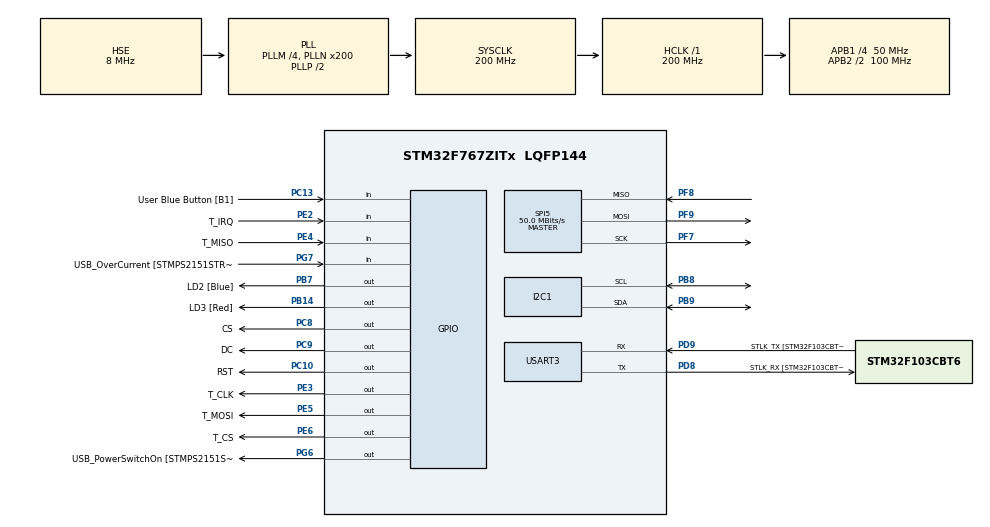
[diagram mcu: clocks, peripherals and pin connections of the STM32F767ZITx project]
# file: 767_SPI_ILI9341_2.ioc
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CORTEX_M7.ART_ACCLERATOR_ENABLE=1
CORTEX_M7.CPU_DCache=Enabled
CORTEX_M7.CPU_ICache=Enabled
CORTEX_M7.PREFETCH_ENABLE=1
I2C1.Timing=0x00C0EAFF
Mcu.Family=STM32F7
Mcu.Name=STM32F767ZITx
Mcu.Package=LQFP144
NVIC.PriorityGroup=NVIC_PRIORITYGROUP_2
NVIC.TIM1_UP_TIM10_IRQn=true\:1\:0\:true\:false\:true\:true\:true\:true
NVIC.TIM2_IRQn=true\:2\:0\:true\:false\:true\:true\:true\:true
PA1.GPIO_Label=RMII_REF_CLK [LAN8742A-CZ-TR_REFCLK0]
PA1.Signal=ETH_REF_CLK
PA13.GPIO_Label=TMS
PA13.Mode=Serial_Wire
PA13.Signal=SYS_JTMS-SWDIO
PA14.GPIO_Label=TCK
PA14.Mode=Serial_Wire
PA14.Signal=SYS_JTCK-SWCLK
PA2.GPIO_Label=RMII_MDIO [LAN8742A-CZ-TR_MDIO]
PA2.Signal=ETH_MDIO
PA7.GPIO_Label=RMII_CRS_DV [LAN8742A-CZ-TR_CRS_DV]
PA7.Signal=ETH_CRS_DV
PB13.GPIO_Label=RMII_TXD1 [LAN8742A-CZ-TR_TXD1]
PB13.Signal=ETH_TXD1
PB14.GPIO_Label=LD3 [Red]
PB14.Signal=GPIO_Output
PB3.GPIO_Label=SWO
PB3.Signal=SYS_JTDO-SWO
PB7.GPIO_Label=LD2 [Blue]
PB7.Signal=GPIO_Output
PB8.Mode=I2C
PB8.Signal=I2C1_SCL
PB9.Mode=I2C
PB9.Signal=I2C1_SDA
PC1.GPIO_Label=RMII_MDC [LAN8742A-CZ-TR_MDC]
PC1.Signal=ETH_MDC
PC10.GPIO_Label=RST
PC10.GPIO_Speed=GPIO_SPEED_FREQ_VERY_HIGH
PC10.Signal=GPIO_Output
PC13.GPIO_Label=User Blue Button [B1]
PC13.Signal=GPIO_Input
PC14/OSC32_IN.Mode=LSE-External-Oscillator
PC14/OSC32_IN.Signal=RCC_OSC32_IN
PC15/OSC32_OUT.Mode=LSE-External-Oscillator
PC15/OSC32_OUT.Signal=RCC_OSC32_OUT
PC4.GPIO_Label=RMII_RXD0 [LAN8742A-CZ-TR_RXD0]
PC4.Signal=ETH_RXD0
PC5.GPIO_Label=RMII_RXD1 [LAN8742A-CZ-TR_RXD1]
PC5.Signal=ETH_RXD1
PC8.GPIO_Label=CS
PC8.GPIO_Speed=GPIO_SPEED_FREQ_VERY_HIGH
PC8.Signal=GPIO_Output
PC9.GPIO_Label=DC
PC9.GPIO_Speed=GPIO_SPEED_FREQ_VERY_HIGH
PC9.Signal=GPIO_Output
PD8.GPIO_Label=STLK_RX [STM32F103CBT6_PA3]
PD8.Mode=Asynchronous
PD8.Signal=USART3_TX
PD9.GPIO_Label=STLK_TX [STM32F103CBT6_PA2]
PD9.Mode=Asynchronous
PD9.Signal=USART3_RX
PE2.GPIO_Label=T_IRQ
PE2.Signal=GPIO_Input
PE3.GPIO_Label=T_CLK
PE3.GPIO_Speed=GPIO_SPEED_FREQ_VERY_HIGH
PE3.Signal=GPIO_Output
PE4.GPIO_Label=T_MISO
PE4.Signal=GPIO_Input
PE5.GPIO_Label=T_MOSI
PE5.GPIO_Speed=GPIO_SPEED_FREQ_VERY_HIGH
PE5.Signal=GPIO_Output
PE6.GPIO_Label=T_CS
PE6.GPIO_Speed=GPIO_SPEED_FREQ_VERY_HIGH
PE6.Signal=GPIO_Output
PF7.Mode=Full_Duplex_Master
PF7.Signal=SPI5_SCK
PF8.Mode=Full_Duplex_Master
PF8.Signal=SPI5_MISO
PF9.Mode=Full_Duplex_Master
PF9.Signal=SPI5_MOSI
PG11.GPIO_Label=RMII_TX_EN [LAN8742A-CZ-TR_TXEN]
PG11.Signal=ETH_TX_EN
PG13.GPIO_Label=RMII_TXD0 [LAN8742A-CZ-TR_TXD0]
PG13.Signal=ETH_TXD0
PG6.GPIO_Label=USB_PowerSwitchOn [STMPS2151STR_EN]
PG6.Signal=GPIO_Output
PG7.GPIO_Label=USB_OverCurrent [STMPS2151STR_FAULT]
PG7.Signal=GPIO_Input
PH0/OSC_IN.GPIO_Label=MCO [STM32F103CBT6_PA8]
PH0/OSC_IN.Mode=HSE-External-Clock-Source
PH0/OSC_IN.Signal=RCC_OSC_IN
PH1/OSC_OUT.Mode=HSE-External-Clock-Source
PH1/OSC_OUT.Signal=RCC_OSC_OUT
ProjectManager.HeapSize=0x200
ProjectManager.StackSize=0x400
ProjectManager.TargetToolchain=STM32CubeIDE
RCC.48MHZClocksFreq_Value=24000000
RCC.AHBFreq_Value=200000000
RCC.APB1CLKDivider=RCC_HCLK_DIV4
RCC.APB1Freq_Value=50000000
RCC.APB1TimFreq_Value=100000000
RCC.APB2CLKDivider=RCC_HCLK_DIV2
RCC.APB2Freq_Value=100000000
RCC.APB2TimFreq_Value=200000000
RCC.CortexFreq_Value=200000000
RCC.HCLKFreq_Value=200000000
RCC.HSE_VALUE=8000000
RCC.HSI_VALUE=16000000
RCC.PLLM=4
RCC.PLLMUL=RCC_PLL_MUL9
RCC.PLLN=200
RCC.PLLQ=9
RCC.PLLSourceVirtual=RCC_PLLSOURCE_HSE
RCC.PRESCALERUSB=RCC_USBCLKSOURCE_PLL_DIV1_5
RCC.SYSCLKFreq_VALUE=200000000
RCC.SYSCLKSource=RCC_SYSCLKSOURCE_PLLCLK
RCC.SYSCLKSourceVirtual=RCC_SYSCLKSOURCE_PLLCLK
RCC.USBFreq_Value=44444444.44444445
RCC.VCOOutputFreq_Value=400000000
SPI5.CalculateBaudRate=50.0 MBits/s
SPI5.DataSize=SPI_DATASIZE_8BIT
SPI5.Direction=SPI_DIRECTION_2LINES
SPI5.Mode=SPI_MODE_MASTER
SPI5.NSSPMode=SPI_NSS_PULSE_DISABLE
SPI5.VirtualType=VM_MASTER
TIM1.ClockDivision=TIM_CLOCKDIVISION_DIV1
TIM1.Period=1000-1
TIM1.Prescaler=216-1
TIM3.Period=1000-1
TIM3.Prescaler=108-1
USART3.VirtualMode-Asynchronous=VM_ASYNC
VP_RNG_VS_RNG.Mode=RNG_Activate
VP_TIM1_VS_ClockSourceINT.Mode=Internal
VP_TIM2_VS_ClockSourceINT.Mode=Internal
VP_TIM3_VS_ClockSourceINT.Mode=Internal
board=NUCLEO-F767ZI

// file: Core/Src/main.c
/* USER CODE BEGIN Header */
/**
  ******************************************************************************
  * @file           : main.c
  * @brief          : Main program body
  ******************************************************************************
  * @attention
  *
  * <h2><center>&copy; Copyright (c) 2021 STMicroelectronics.
  * All rights reserved.</center></h2>
  *
  * This software component is licensed by ST under BSD 3-Clause license,
  * the "License"; You may not use this file except in compliance with the
  * License. You may obtain a copy of the License at:
  *                        opensource.org/licenses/BSD-3-Clause
  *
  ******************************************************************************
  */
/* USER CODE END Header */
#include "main.h"
#include "i2c.h"
#include "rng.h"
#include "spi.h"
#include "tim.h"
#include "usart.h"
#include "gpio.h"

/* USER CODE BEGIN Includes */
#include "stdio.h"
#include "ILI9341_Touchscreen.h"

#include "ILI9341_STM32_Driver.h"
#include "ILI9341_GFX.h"
#include "am2320.h"
#include "snow_tiger.h"
#include "git.h"
/* USER CODE END Includes */

/* USER CODE BEGIN PV */
/* Private variables ---------------------------------------------------------*/

/* USER CODE END PV */

void SystemClock_Config(void);
/* USER CODE BEGIN PFP */
/* Private function prototypes -----------------------------------------------*/

/* USER CODE END PFP */

/* USER CODE BEGIN 0 */
uint32_t count_1;
uint32_t sec;
uint32_t min;
void SetScreen(void);
void displayTime(uint32_t,int);
/* USER CODE END 0 */

int main(void)
{

  /* Enable I-Cache---------------------------------------------------------*/
  SCB_EnableICache();

  /* Enable D-Cache---------------------------------------------------------*/
  SCB_EnableDCache();

  /* MCU Configuration--------------------------------------------------------*/

  /* Reset of all peripherals, Initializes the Flash interface and the Systick. */
  HAL_Init();

  /* Configure the system clock */
  SystemClock_Config();

  /* Initialize all configured peripherals */
  MX_GPIO_Init();
  MX_USART3_UART_Init();
  MX_SPI5_Init();
  MX_TIM1_Init();
  MX_RNG_Init();
  MX_I2C1_Init();
  MX_TIM3_Init();
  MX_TIM2_Init();
  /* USER CODE BEGIN 2 */
  int posSelected = 3;
  int posCopy = 11;
  int isCopy =0;
  int x_axis = 50;
  int screen = 0;
  // screen 0 -> LIST PAGE
  // screen 1 -> PLAY PAGE
  int isPlay = 0;

  struct SlotMusic {
	char *Name;
    int Length;	//(sec)
  };
  struct SlotMusic s[10];
  s[0].Name = "Default1";
  s[0].Length = 8;
  s[1].Name = "Default2";
  s[1].Length = 210;
  s[2].Name = "Empty";
  s[3].Name = "Empty";
  s[4].Name = "Empty";
  s[5].Name = "Empty";
  s[6].Name = "Empty";
  s[7].Name = "Empty";
  s[8].Name = "Empty";
  s[9].Name = "Empty";

	if(screen == 1){
		 ILI9341_Draw_Text(s[posSelected].Name,100 ,50, WHITE,2, BLACK);
	}

  ILI9341_Init();//initial driver setup to drive ili9341
  /* USER CODE END 2 */

  /* Infinite loop */
  /* USER CODE BEGIN WHILE */

SetScreen();

  while (1)
  {
	    //Touchpad
	  	uint16_t x_pos = 0;
	 	uint16_t y_pos = 0;
	  	int16_t position_array[2];
	  	if(TP_Touchpad_Pressed()){
	  	   if(TP_Read_Coordinates(position_array) == TOUCHPAD_DATA_OK){
	  		   y_pos = 240-position_array[0];
	  		   x_pos = position_array[1];

	  		   //Up
	  		   if(x_pos>=10 && x_pos<=45 && y_pos>=70 && y_pos<=115 && screen ==0){
	  			   if(posSelected >0){
		  			   posSelected -=1;
	  			   }
	  		   }

	  		   //Down
	  		   else if(x_pos>=10 && x_pos<=45 && y_pos>=120 && y_pos<=155 && screen ==0){
	  			   if(posSelected <9){
	  				 posSelected +=1;
	  			   	   }
	  		   }

	  		   //PLAY(GO TO PLAY PAGE)
	  		   else if(x_pos>=30 && x_pos<=90 && y_pos>=200 && y_pos<=230 && s[posSelected].Name != "Empty"&& !isCopy && screen ==0){
	  			   screen = 1;
	  			   sec = 0;
		  	       __HAL_TIM_SET_COUNTER(&htim1,0);
	  			   SetScreen();
	  		   }

	  		   //COPY
	  		   else if(x_pos>=100 && x_pos<=160 && y_pos>=200 && y_pos<=230 && s[posSelected].Name != "Empty" &&  !isCopy && screen ==0){
	  			   posCopy = posSelected;
	  			   isCopy = 1;

	  		   }

	  		 //PASTE
	  		   else if(x_pos>=100 && x_pos<=160 && y_pos>=200 && y_pos<=230 && isCopy && screen ==0){
	   			   s[posSelected].Name = s[posCopy].Name;
	   			   s[posSelected].Length = s[posCopy].Length;
	   			   isCopy = 0;
	   			   posCopy = 11;

	  		   }

	  		   //CANCEL COPY
	  		   else if(x_pos>=30 && x_pos<=90 && y_pos>=200 && y_pos<=230 && isCopy && screen ==0){
	  			   isCopy = 0;
	  			   posCopy = 11;
	  		   }

	  		   //DELETE
	  		   else if(x_pos>=170 && x_pos<=230 && y_pos>=200 && y_pos<=230 && screen ==0){
	  			   s[posSelected].Name = "Empty";
	  		   }

	  		  //PLAY MUSIC
	  		   else if(x_pos>=30 && x_pos<=70 && y_pos>=110 && y_pos<=150 && isPlay == 0 && screen ==1){
	  			  	isPlay =1;
	  		   }

	  		   //BACK TO PLAY PAGE
	  		   else if(x_pos>=240 && x_pos<=300 && y_pos>=200 && y_pos<=230 && screen == 0){
	  			   screen = 1;
	  			   SetScreen();
	  		   }

	  		   //BACK TO LIST PAGE
	  		   else if(x_pos>=240 && x_pos<=300 && y_pos>=180 && y_pos<=210 && screen == 1){
	  			   screen = 0;
	  			   SetScreen();
	  		   }
	  	   }
	  	}

	  	//PAGE LIST OF MUSIC
	  	if(screen == 0){

	  		//UP/DOWN button
	  		ILI9341_Draw_Rectangle(10, 70, 35, 35, WHITE);
			ILI9341_Draw_Text("/\\",20 ,80, BLACK,2, WHITE);
	  		ILI9341_Draw_Rectangle(10, 120, 35, 35, WHITE);
			ILI9341_Draw_Text("\\/",20 ,130, BLACK,2, WHITE);

			//MENU (PLAY/COPY/DELETE/BACK)
	  		if(s[posSelected].Name != "Empty" && !isCopy){
				ILI9341_Draw_Rectangle(30, 200, 60, 30, RED);
				ILI9341_Draw_Text("PLAY",40 ,200, BLACK,2, RED);

				ILI9341_Draw_Rectangle(170, 200, 60, 30, RED);
				ILI9341_Draw_Text("DELETE",180 ,210, BLACK,1.5, RED);
			}
			else if (!isCopy){
				ILI9341_Draw_Rectangle(30, 200, 60, 30, WHITE);
				ILI9341_Draw_Text("PLAY",40 ,200, BLACK,2, WHITE);

				ILI9341_Draw_Rectangle(170, 200, 60, 30, WHITE);
				ILI9341_Draw_Text("DELETE",180 ,210, BLACK,1, WHITE);
			}

			if(s[posSelected].Name != "Empty"  && !isCopy){
				ILI9341_Draw_Rectangle(100, 200, 60, 30, RED);
				ILI9341_Draw_Text("COPY",110 ,200, BLACK,2, RED);
			}
			else if (!isCopy){
				ILI9341_Draw_Rectangle(100, 200, 60, 30, WHITE);
				ILI9341_Draw_Text("COPY",110 ,200, BLACK,2, WHITE);;
			}
			ILI9341_Draw_Rectangle(240, 200, 60, 30, RED);
			ILI9341_Draw_Text("BACK",260 ,210, BLACK,1, RED);

			if(isCopy){
				ILI9341_Draw_Rectangle(30, 200, 60, 30, RED);
				ILI9341_Draw_Text("X",60 ,200, BLACK,2, RED);

				ILI9341_Draw_Rectangle(100, 200, 60, 30, RED);
				ILI9341_Draw_Text("PASTE",120 ,210, BLACK,1, RED);

				ILI9341_Draw_Rectangle(170, 200, 60, 30, WHITE);
				ILI9341_Draw_Text("DELETE",180 ,210, BLACK,1.5, WHITE);
			}

			//List Music 1-5
			if(posSelected < 5){
			for(int i=0;i<5;i++){
				if(i == posSelected && i != posCopy){
					ILI9341_Draw_Rectangle(60, x_axis, 230, 20, YELLOW);
					ILI9341_Draw_Text(s[i].Name,80 ,x_axis, BLACK,2, YELLOW);
				}
				else if(i == posCopy){
		  			ILI9341_Draw_Rectangle(60, x_axis, 230, 20, GREEN);
		  			ILI9341_Draw_Text(s[i].Name,80 ,x_axis, BLACK,2, GREEN);
				}
				else{
					ILI9341_Draw_Rectangle(60, x_axis, 230, 20, WHITE);
					ILI9341_Draw_Text(s[i].Name,80 ,x_axis, BLACK,2, WHITE);
				}
				if(x_axis>=170){
					x_axis=20;
				}
				x_axis+=30;
			}
			}

			//List Music 6-10
			else{
				for(int j=5;j<10;j++){
						if(j == posSelected){
							ILI9341_Draw_Rectangle(60, x_axis, 230, 20, YELLOW);
							ILI9341_Draw_Text(s[j].Name,80 ,x_axis, BLACK,2, YELLOW);

						}
						else{
							ILI9341_Draw_Rectangle(60, x_axis, 230, 20, WHITE);
							ILI9341_Draw_Text(s[j].Name,80 ,x_axis, BLACK,2, WHITE);
						}
						if(x_axis>=170){
							x_axis=20;
						}
						x_axis+=30;
					}
			}

			HAL_Delay(10);
	  	}

	  	//PLAY PAGE
	  	else if(screen == 1){

	  		// TITLE
	  		ILI9341_Draw_Text(s[posSelected].Name,100 ,50, WHITE,2, BLACK);

		  	//PLAY/PAUSE button
		  	ILI9341_Draw_Rectangle(30, 110, 40, 40, WHITE);
			ILI9341_Draw_Text("PALY/",35 ,120, BLACK,1, WHITE);
			ILI9341_Draw_Text("PAUSE",35 ,130, BLACK,1, WHITE);

		  	//Music level range
	  		ILI9341_Draw_Rectangle(90, 110, 10, 20, WHITE);
	  		ILI9341_Draw_Rectangle(110, 110, 10, 20, WHITE);
	  		ILI9341_Draw_Rectangle(130, 110, 10, 20, WHITE);
	  		ILI9341_Draw_Rectangle(150, 110, 10, 20, WHITE);
	  		ILI9341_Draw_Rectangle(170, 110, 10, 20, WHITE);
	  		ILI9341_Draw_Rectangle(190, 110, 10, 20, WHITE);
	  		ILI9341_Draw_Rectangle(210, 110, 10, 20, WHITE);
	  		ILI9341_Draw_Rectangle(230, 110, 10, 20, WHITE);

		  	displayTime(sec,1);
		  	displayTime(s[posSelected].Length,0);

	  		//BACK
	  		ILI9341_Draw_Rectangle(240, 200, 60, 30, RED);
			ILI9341_Draw_Text("BACK",260 ,210, BLACK,1, RED);

	  		int level = s[posSelected].Length/8;

	  	    if(isPlay == 1){

	  	    	//start timer

	  	    	HAL_TIM_Base_Start_IT(&htim1);
		  	    while (1){
		  	    	displayTime(sec,1);

		  	    	if(sec>=(level)){
		  		  		ILI9341_Draw_Rectangle(90, 110, 10, 20, RED);
		  	    	}
		  	    	if(sec>=(level*2)){
		  		  		ILI9341_Draw_Rectangle(110, 110, 10, 20, RED);
		  	    	}
		  	    	if(sec>=(level*3)){
		  	    		ILI9341_Draw_Rectangle(130, 110, 10, 20, RED);
		  	    	}
		  	    	if(sec>=(level*4)){
		  		  		ILI9341_Draw_Rectangle(150, 110, 10, 20, RED);
		  	    	}
		  	    	if(sec>=(level*5)){
		  		  		ILI9341_Draw_Rectangle(170, 110, 10, 20, RED);
		  	    	}
		  	    	if(sec>=(level*6)){
		  	    		ILI9341_Draw_Rectangle(190, 110, 10, 20, RED);
		  	    	}
		  	    	if(sec>=(level*7)){
		  	    		ILI9341_Draw_Rectangle(210, 110, 10, 20, RED);
		  	    	}

   		  		   //END
   		  		   if(sec == s[posSelected].Length){
   		  			   isPlay =0;
   		  			   ILI9341_Draw_Rectangle(230, 110, 10, 20, RED);
   		  			   HAL_Delay(300);
   		  			   HAL_TIM_Base_Stop_IT(&htim1);
   		  			   sec = 0;
   			  	       __HAL_TIM_SET_COUNTER(&htim1,0);
   		  			   break;
   		  		   }

		  	    	if(TP_Touchpad_Pressed()){
		  	    		  	   if(TP_Read_Coordinates(position_array) == TOUCHPAD_DATA_OK){
		  	    		  		   y_pos = 240-position_array[0];
		  	    		  		   x_pos = position_array[1];

		  	    		  		   //PAUSE
		  	    		  		   if(x_pos>=30 && x_pos<=70 && y_pos>=110 && y_pos<=150){
		  	    		  			   isPlay =0;
		  	    				  	   HAL_TIM_Base_Stop_IT(&htim1);
		  	    		  			   break;
		  	    		  		   }

		  	    		  		   //BACK TO LIST PAGE
		  	    		  		   if(x_pos>=240 && x_pos<=300 && y_pos>=180 && y_pos<=210 && screen == 1){
		  	    				  	   isPlay = 0;
		  	    		  			   screen = 0;
		  	    				  	   HAL_TIM_Base_Stop_IT(&htim1);
		  	    		  			   break;
		  	    		  		   }

		  	    		  	   }
		  	    	}
		  	    	HAL_Delay(400);

		  	    }
	  	    }

			HAL_Delay(10);
	  	}

    /* USER CODE END WHILE */

  }
}

void SystemClock_Config(void)
{
  RCC_OscInitTypeDef RCC_OscInitStruct = {0};
  RCC_ClkInitTypeDef RCC_ClkInitStruct = {0};
  RCC_PeriphCLKInitTypeDef PeriphClkInitStruct = {0};

  /** Configure LSE Drive Capability
  */
  HAL_PWR_EnableBkUpAccess();
  /** Configure the main internal regulator output voltage
  */
  __HAL_RCC_PWR_CLK_ENABLE();
  __HAL_PWR_VOLTAGESCALING_CONFIG(PWR_REGULATOR_VOLTAGE_SCALE1);
  /** Initializes the RCC Oscillators according to the specified parameters
  * in the RCC_OscInitTypeDef structure.
  */
  RCC_OscInitStruct.OscillatorType = RCC_OSCILLATORTYPE_HSE;
  RCC_OscInitStruct.HSEState = RCC_HSE_BYPASS;
  RCC_OscInitStruct.PLL.PLLState = RCC_PLL_ON;
  RCC_OscInitStruct.PLL.PLLSource = RCC_PLLSOURCE_HSE;
  RCC_OscInitStruct.PLL.PLLM = 4;
  RCC_OscInitStruct.PLL.PLLN = 200;
  RCC_OscInitStruct.PLL.PLLP = RCC_PLLP_DIV2;
  RCC_OscInitStruct.PLL.PLLQ = 9;
  RCC_OscInitStruct.PLL.PLLR = 2;
  if (HAL_RCC_OscConfig(&RCC_OscInitStruct) != HAL_OK)
  {
    Error_Handler();
  }
  /** Activate the Over-Drive mode
  */
  if (HAL_PWREx_EnableOverDrive() != HAL_OK)
  {
    Error_Handler();
  }
  /** Initializes the CPU, AHB and APB buses clocks
  */
  RCC_ClkInitStruct.ClockType = RCC_CLOCKTYPE_HCLK|RCC_CLOCKTYPE_SYSCLK
                              |RCC_CLOCKTYPE_PCLK1|RCC_CLOCKTYPE_PCLK2;
  RCC_ClkInitStruct.SYSCLKSource = RCC_SYSCLKSOURCE_PLLCLK;
  RCC_ClkInitStruct.AHBCLKDivider = RCC_SYSCLK_DIV1;
  RCC_ClkInitStruct.APB1CLKDivider = RCC_HCLK_DIV4;
  RCC_ClkInitStruct.APB2CLKDivider = RCC_HCLK_DIV2;

  if (HAL_RCC_ClockConfig(&RCC_ClkInitStruct, FLASH_LATENCY_6) != HAL_OK)
  {
    Error_Handler();
  }
  PeriphClkInitStruct.PeriphClockSelection = RCC_PERIPHCLK_USART3|RCC_PERIPHCLK_I2C1
                              |RCC_PERIPHCLK_CLK48;
  PeriphClkInitStruct.Usart3ClockSelection = RCC_USART3CLKSOURCE_PCLK1;
  PeriphClkInitStruct.I2c1ClockSelection = RCC_I2C1CLKSOURCE_PCLK1;
  PeriphClkInitStruct.Clk48ClockSelection = RCC_CLK48SOURCE_PLL;
  if (HAL_RCCEx_PeriphCLKConfig(&PeriphClkInitStruct) != HAL_OK)
  {
    Error_Handler();
  }
}

/* USER CODE BEGIN 4 */
extern void displayTime (uint32_t sec,int isStart){
	char str[80];
	sprintf(str, "%01d.%02d", sec/60,sec%60);
	//HAL_UART_Transmit(&huart3, (uint8_t*) str, strlen(str), 100);
	if(!isStart){
  		ILI9341_Draw_Text(str,200 ,140, WHITE,2, BLACK);
	}
	else{
		ILI9341_Draw_Text(str,80 ,140, WHITE,2, BLACK);

	}
}

void SetScreen(void){
	 //Screen Setting
	 ILI9341_Set_Rotation(SCREEN_HORIZONTAL_1);
	 ILI9341_Fill_Screen(BLACK);

	//TOPIC
	 ILI9341_Draw_Text("D",90 ,15, RED,2, BLACK);
	 ILI9341_Draw_Text("N",105 ,15, YELLOW,2, BLACK);
	 ILI9341_Draw_Text("K",120 ,15, BLUE,2, BLACK);
	 ILI9341_Draw_Text("MUSIC BOX",140 ,15, WHITE,2, BLACK);
}

/* USER CODE END 4 */

void Error_Handler(void)
{
  while(1)
  {
  }
}

/************************ (C) COPYRIGHT STMicroelectronics *****END OF FILE****/
